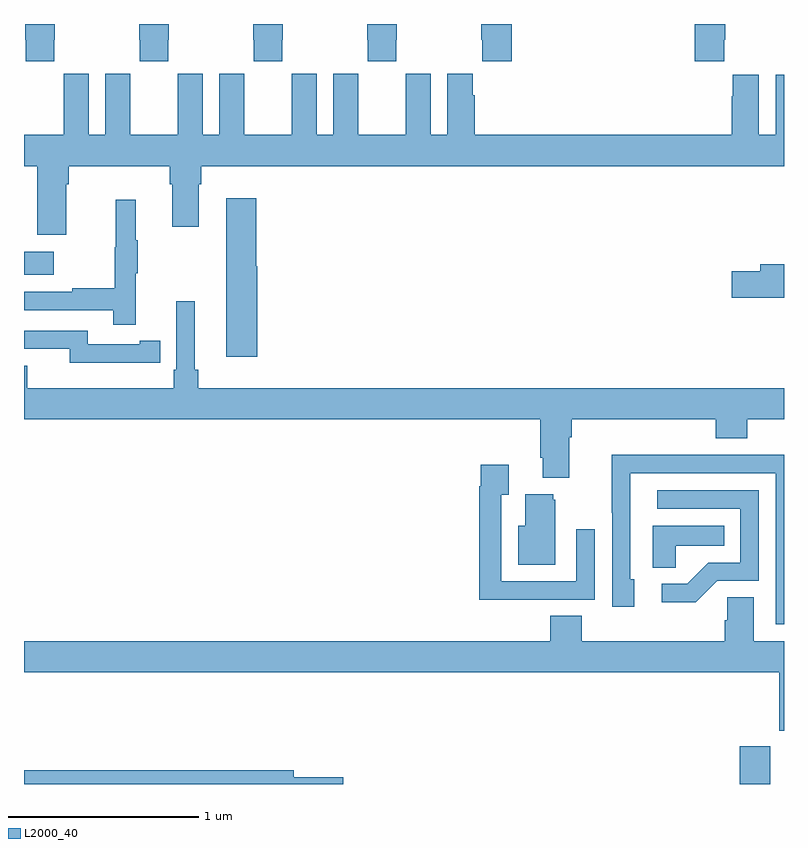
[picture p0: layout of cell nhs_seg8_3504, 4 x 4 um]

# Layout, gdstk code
import gdstk
lib = gdstk.Library(unit=1e-6, precision=1e-09)
def R(c, l, rs):  # rectangles x0, y0, x1, y1
    for r in rs: c.add(gdstk.rectangle(r[:2], r[2:], *l))
def P(c, l, *ps):  # polygons
    for p in ps: c.add(gdstk.Polygon(p, *l))
L2000_40 = (2000, 40)

nhs_seg8_3504 = lib.new_cell('nhs_seg8_3504')
R(nhs_seg8_3504, L2000_40, [(330.767,1127.9,330.927,1128.1), (327,1130.579,327.157,1130.701)])
P(nhs_seg8_3504, L2000_40, [(328.959,1131.817),(328.962,1131.817),(328.962,1131.9),(328.807,1131.9),(328.807,1131.817),(328.809,1131.817),(328.809,1131.705),(328.959,1131.705)],
  [(329.567,1131.9),(329.407,1131.9),(329.407,1131.817),(329.413,1131.817),(329.413,1131.705),(329.567,1131.705)],
  [(330.685,1131.817),(330.69,1131.817),(330.69,1131.9),(330.53,1131.9),(330.53,1131.705),(330.685,1131.705)],
  [(328.359,1131.817),(328.362,1131.817),(328.362,1131.9),(328.207,1131.9),(328.207,1131.817),(328.209,1131.817),(328.209,1131.705),(328.359,1131.705)],
  [(327.759,1131.817),(327.762,1131.817),(327.762,1131.9),(327.607,1131.9),(327.607,1131.817),(327.609,1131.817),(327.609,1131.705),(327.759,1131.705)],
  [(327.159,1131.817),(327.162,1131.817),(327.162,1131.9),(327.007,1131.9),(327.007,1131.817),(327.009,1131.817),(327.009,1131.705),(327.159,1131.705)],
  [(327.223,1131.056),(327.236,1131.056),(327.236,1131.152),(327.767,1131.152),(327.767,1131.056),(327.779,1131.056),(327.779,1130.832),(327.919,1130.832),(327.919,1131.056),(327.932,1131.056),(327.932,1131.152),(331,1131.152),(331,1131.634),(330.956,1131.634),(330.956,1131.316),(330.868,1131.316),(330.868,1131.634),(330.731,1131.634),(330.731,1131.521),(330.725,1131.521),(330.725,1131.316),(329.372,1131.316),(329.372,1131.524),(329.362,1131.524),(329.362,1131.637),(329.228,1131.637),(329.228,1131.316),(329.14,1131.316),(329.14,1131.637),(329.01,1131.637),(329.01,1131.524),(329.009,1131.524),(329.009,1131.316),(328.759,1131.316),(328.759,1131.524),(328.758,1131.524),(328.758,1131.637),(328.628,1131.637),(328.628,1131.316),(328.54,1131.316),(328.54,1131.637),(328.41,1131.637),(328.41,1131.524),(328.409,1131.524),(328.409,1131.316),(328.159,1131.316),(328.159,1131.524),(328.158,1131.524),(328.158,1131.637),(328.028,1131.637),(328.028,1131.316),(327.94,1131.316),(327.94,1131.637),(327.81,1131.637),(327.81,1131.524),(327.809,1131.524),(327.809,1131.316),(327.559,1131.316),(327.559,1131.524),(327.558,1131.524),(327.558,1131.637),(327.428,1131.637),(327.428,1131.316),(327.34,1131.316),(327.34,1131.637),(327.21,1131.637),(327.21,1131.524),(327.209,1131.524),(327.209,1131.316),(327,1131.316),(327,1131.152),(327.071,1131.152),(327.071,1130.79),(327.223,1130.79)],
  [(328.228,1130.625),(328.223,1130.625),(328.223,1130.983),(328.064,1130.983),(328.064,1130.148),(328.228,1130.148)],
  [(327.587,1130.587),(327.598,1130.587),(327.598,1130.761),(327.587,1130.761),(327.587,1130.974),(327.484,1130.974),(327.484,1130.724),(327.477,1130.724),(327.477,1130.51),(327.253,1130.51),(327.253,1130.49),(327,1130.49),(327,1130.394),(327.469,1130.394),(327.469,1130.316),(327.587,1130.316)],
  [(331,1130.636),(330.875,1130.636),(330.875,1130.6),(330.726,1130.6),(330.726,1130.458),(331,1130.458)],
  [(329.869,1129.724),(329.882,1129.724),(329.882,1129.82),(330.641,1129.82),(330.641,1129.721),(330.806,1129.721),(330.806,1129.82),(331,1129.82),(331,1129.984),(327.917,1129.984),(327.917,1130.08),(327.898,1130.08),(327.898,1130.44),(327.801,1130.44),(327.801,1130.08),(327.788,1130.08),(327.788,1129.984),(327.016,1129.984),(327.016,1130.101),(327,1130.101),(327,1129.82),(329.717,1129.82),(329.717,1129.618),(329.729,1129.618),(329.729,1129.511),(329.869,1129.511)],
  [(327.608,1130.118),(327.716,1130.118),(327.716,1130.234),(327.608,1130.234),(327.608,1130.214),(327.336,1130.214),(327.336,1130.286),(327,1130.286),(327,1130.19),(327.24,1130.19),(327.24,1130.117),(327.608,1130.117)],
  [(331,1129.632),(330.557,1129.632),(330.557,1129.634),(330.094,1129.634),(330.094,1129.327),(330.096,1129.327),(330.096,1128.834),(330.211,1128.834),(330.211,1128.978),(330.192,1128.978),(330.192,1129.536),(330.957,1129.536),(330.957,1128.741),(331,1128.741)],
  [(329.687,1128.87),(330.003,1128.87),(330.003,1129.24),(329.907,1129.24),(329.907,1128.966),(329.511,1128.966),(329.511,1129.423),(329.551,1129.423),(329.551,1129.579),(329.403,1129.579),(329.403,1129.466),(329.395,1129.466),(329.395,1128.869),(329.687,1128.869)],
  [(330.648,1128.969),(330.867,1128.969),(330.867,1129.446),(330.333,1129.446),(330.333,1129.35),(330.771,1129.35),(330.771,1129.065),(330.602,1129.065),(330.491,1128.954),(330.357,1128.954),(330.357,1128.857),(330.535,1128.857)],
  [(329.797,1129.395),(329.786,1129.395),(329.786,1129.426),(329.639,1129.426),(329.639,1129.258),(329.6,1129.258),(329.6,1129.055),(329.797,1129.055)],
  [(330.429,1129.154),(330.686,1129.154),(330.686,1129.258),(330.308,1129.258),(330.308,1129.039),(330.429,1129.039)],
  [(331,1128.652),(330.841,1128.652),(330.841,1128.884),(330.702,1128.884),(330.702,1128.761),(330.689,1128.761),(330.689,1128.652),(329.936,1128.652),(329.936,1128.785),(329.771,1128.785),(329.771,1128.652),(327,1128.652),(327,1128.488),(330.974,1128.488),(330.974,1128.179),(331,1128.179)],
  [(328.681,1127.936),(328.42,1127.936),(328.42,1127.972),(327,1127.972),(327,1127.9),(328.681,1127.9)])

lib.write_gds('nhs_seg8_3504.gds')
